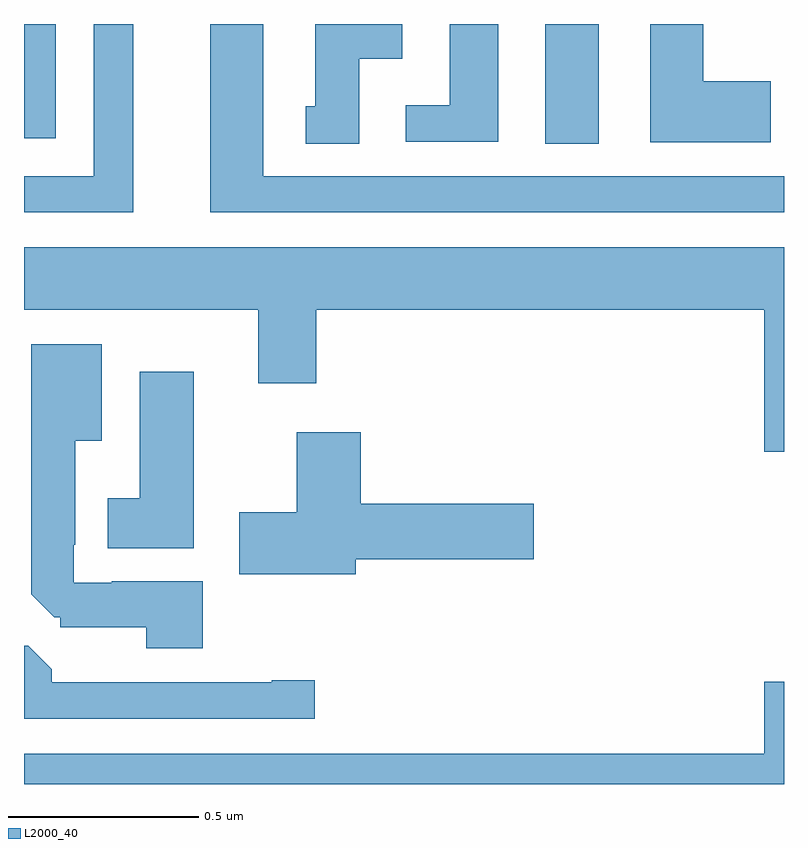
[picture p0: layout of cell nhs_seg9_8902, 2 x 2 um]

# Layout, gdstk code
import gdstk
lib = gdstk.Library(unit=1e-6, precision=1e-09)
def R(c, l, rs):  # rectangles x0, y0, x1, y1
    for r in rs: c.add(gdstk.rectangle(r[:2], r[2:], *l))
def P(c, l, *ps):  # polygons
    for p in ps: c.add(gdstk.Polygon(p, *l))
L2000_40 = (2000, 40)

nhs_seg9_8902 = lib.new_cell('nhs_seg9_8902')
R(nhs_seg9_8902, L2000_40, [(224.372,1202.185,224.512,1202.5), (223,1202.199,223.084,1202.5)])
P(nhs_seg9_8902, L2000_40, [(225,1202.1),(223.63,1202.1),(223.63,1202.5),(223.49,1202.5),(223.49,1202.004),(225,1202.004)],
  [(224.965,1202.349),(224.788,1202.349),(224.788,1202.5),(224.648,1202.5),(224.648,1202.189),(224.965,1202.189)],
  [(223.882,1202.408),(223.996,1202.408),(223.996,1202.5),(223.766,1202.5),(223.766,1202.283),(223.742,1202.283),(223.742,1202.185),(223.882,1202.185)],
  [(224.248,1202.5),(224.12,1202.5),(224.12,1202.286),(224.004,1202.286),(224.004,1202.19),(224.248,1202.19)],
  [(223.288,1202.5),(223.184,1202.5),(223.184,1202.1),(223,1202.1),(223,1202.004),(223.288,1202.004)],
  [(225,1201.912),(223,1201.912),(223,1201.748),(223.616,1201.748),(223.616,1201.554),(223.769,1201.554),(223.769,1201.748),(224.948,1201.748),(224.948,1201.374),(225,1201.374)],
  [(223.471,1201.033),(223.231,1201.033),(223.231,1201.029),(223.131,1201.029),(223.131,1201.129),(223.135,1201.129),(223.135,1201.403),(223.204,1201.403),(223.204,1201.657),(223.019,1201.657),(223.019,1200.999),(223.079,1200.939),(223.095,1200.939),(223.095,1200.912),(223.322,1200.912),(223.322,1200.857),(223.471,1200.857)],
  [(223.447,1201.585),(223.304,1201.585),(223.304,1201.252),(223.22,1201.252),(223.22,1201.121),(223.447,1201.121)],
  [(223.873,1201.091),(224.341,1201.091),(224.341,1201.238),(223.886,1201.238),(223.886,1201.426),(223.718,1201.426),(223.718,1201.215),(223.566,1201.215),(223.566,1201.052),(223.873,1201.052)],
  [(223.765,1200.773),(223.652,1200.773),(223.652,1200.768),(223.073,1200.768),(223.073,1200.802),(223.011,1200.864),(223,1200.864),(223,1200.672),(223.765,1200.672)],
  [(225,1200.769),(224.948,1200.769),(224.948,1200.58),(223,1200.58),(223,1200.5),(225,1200.5)])

lib.write_gds('nhs_seg9_8902.gds')
